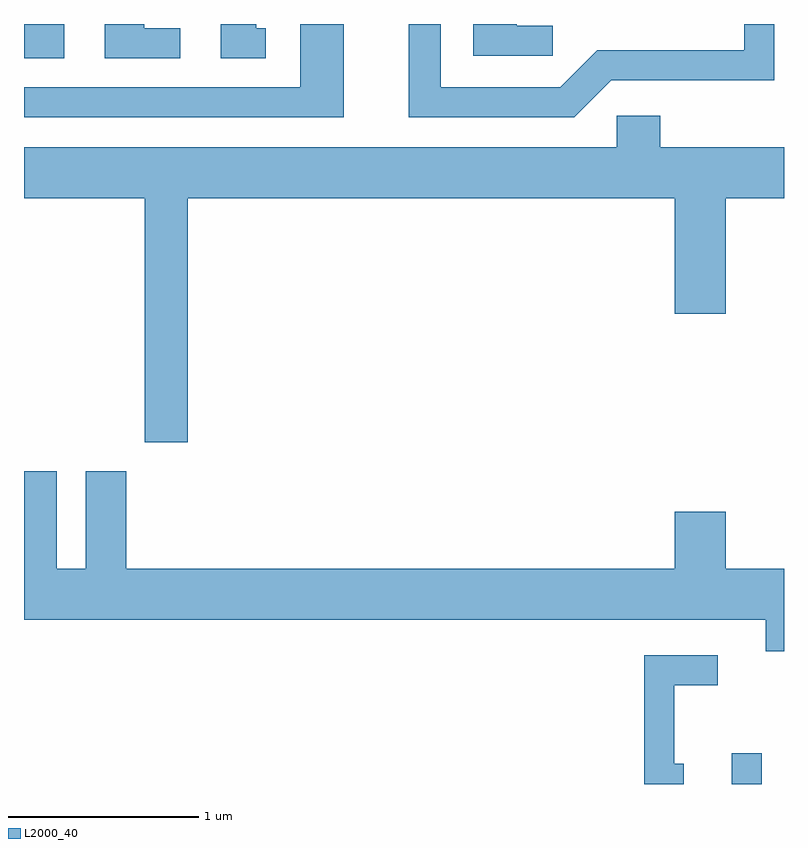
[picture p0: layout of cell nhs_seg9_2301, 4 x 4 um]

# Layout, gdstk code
import gdstk
lib = gdstk.Library(unit=1e-6, precision=1e-09)
def R(c, l, rs):  # rectangles x0, y0, x1, y1
    for r in rs: c.add(gdstk.rectangle(r[:2], r[2:], *l))
def P(c, l, *ps):  # polygons
    for p in ps: c.add(gdstk.Polygon(p, *l))
L2000_40 = (2000, 40)

nhs_seg9_2301 = lib.new_cell('nhs_seg9_2301')
R(nhs_seg9_2301, L2000_40, [(255.336,2066.432,255.494,2066.593), (251.611,2070.251,251.824,2070.432)])
P(nhs_seg9_2301, L2000_40, [(252.883,2070.409),(252.834,2070.409),(252.834,2070.432),(252.646,2070.432),(252.646,2070.251),(252.883,2070.251)],
  [(254.702,2070.136),(255.559,2070.136),(255.559,2070.432),(255.401,2070.432),(255.401,2070.294),(254.629,2070.294),(254.434,2070.099),(253.804,2070.099),(253.804,2070.432),(253.636,2070.432),(253.636,2069.941),(254.507,2069.941)],
  [(254.393,2070.424),(254.204,2070.424),(254.204,2070.432),(253.976,2070.432),(253.976,2070.266),(254.393,2070.266)],
  [(252.433,2070.409),(252.244,2070.409),(252.244,2070.432),(252.036,2070.432),(252.036,2070.251),(252.433,2070.251)],
  [(253.294,2070.432),(253.066,2070.432),(253.066,2070.099),(251.611,2070.099),(251.611,2069.941),(253.294,2069.941)],
  [(252.474,2069.516),(255.036,2069.516),(255.036,2068.906),(255.304,2068.906),(255.304,2069.516),(255.611,2069.516),(255.611,2069.784),(254.959,2069.784),(254.959,2069.949),(254.731,2069.949),(254.731,2069.784),(251.611,2069.784),(251.611,2069.516),(252.246,2069.516),(252.246,2068.231),(252.474,2068.231)],
  [(251.611,2068.079),(251.611,2067.296),(255.516,2067.296),(255.516,2067.131),(255.611,2067.131),(255.611,2067.564),(255.304,2067.564),(255.304,2067.864),(255.036,2067.864),(255.036,2067.564),(252.149,2067.564),(252.149,2068.079),(251.936,2068.079),(251.936,2067.564),(251.784,2067.564),(251.784,2068.079)],
  [(255.084,2066.539),(255.034,2066.539),(255.034,2066.951),(255.263,2066.951),(255.263,2067.109),(254.876,2067.109),(254.876,2066.432),(255.084,2066.432)])

lib.write_gds('nhs_seg9_2301.gds')
